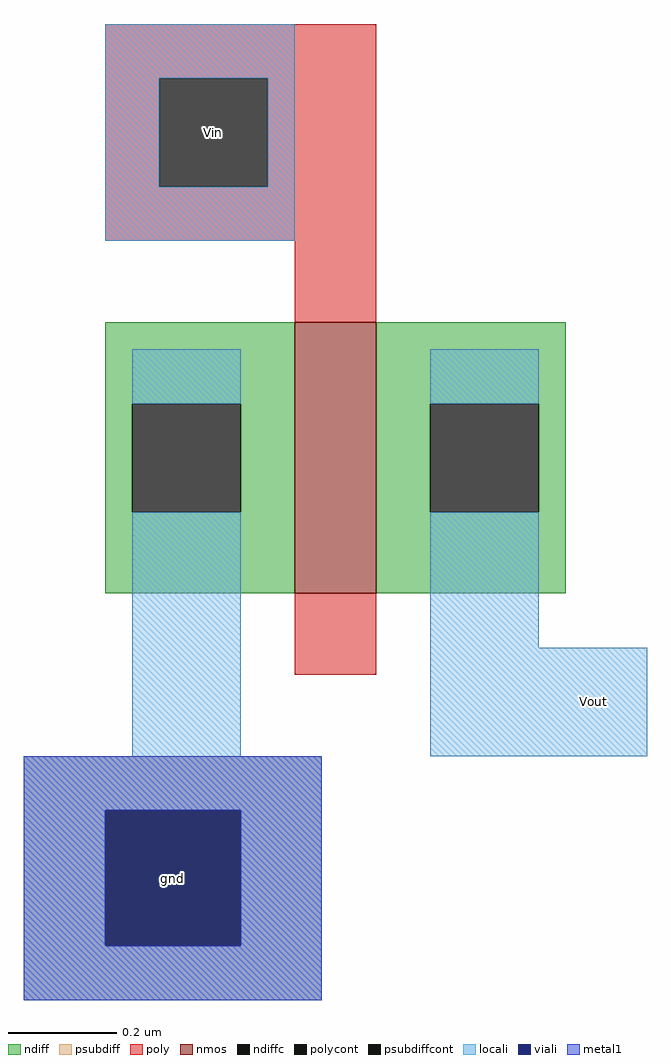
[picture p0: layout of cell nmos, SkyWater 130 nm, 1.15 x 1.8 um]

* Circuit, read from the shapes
.subckt nmos Vin Vout gnd
XM1 Vout Vin gnd gnd sky130_fd_pr__nfet_01v8 w=0.5 l=0.15
.ends

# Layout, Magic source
magic
tech sky130A
<< nmos >>
rect 55 -120 70 -70
<< ndiff >>
rect 20 -85 55 -70
rect 20 -105 25 -85
rect 45 -105 55 -85
rect 20 -120 55 -105
rect 70 -85 105 -70
rect 70 -105 80 -85
rect 100 -105 105 -85
rect 70 -120 105 -105
<< ndiffc >>
rect 25 -105 45 -85
rect 80 -105 100 -85
<< psubdiff >>
rect 5 -160 60 -150
rect 5 -185 20 -160
rect 45 -185 60 -160
rect 5 -195 60 -185
<< psubdiffcont >>
rect 20 -185 45 -160
<< poly >>
rect 20 -25 70 -15
rect 20 -45 30 -25
rect 50 -45 70 -25
rect 20 -55 70 -45
rect 55 -70 70 -55
rect 55 -135 70 -120
<< polycont >>
rect 30 -45 50 -25
<< locali >>
rect 20 -25 55 -15
rect 20 -45 30 -25
rect 50 -45 55 -25
rect 20 -55 55 -45
rect 25 -85 45 -75
rect 25 -150 45 -105
rect 80 -85 100 -75
rect 80 -130 100 -105
rect 80 -150 120 -130
rect 5 -160 60 -150
rect 5 -185 20 -160
rect 45 -185 60 -160
rect 5 -195 60 -185
<< viali >>
rect 20 -185 45 -160
<< metal1 >>
rect 5 -160 60 -150
rect 5 -185 20 -160
rect 45 -185 60 -160
rect 5 -195 60 -185
<< labels >>
rlabel metal1 20 -185 45 -160 1 gnd
rlabel polycont 30 -45 50 -25 1 Vin
rlabel locali 100 -150 120 -130 1 Vout
<< end >>
